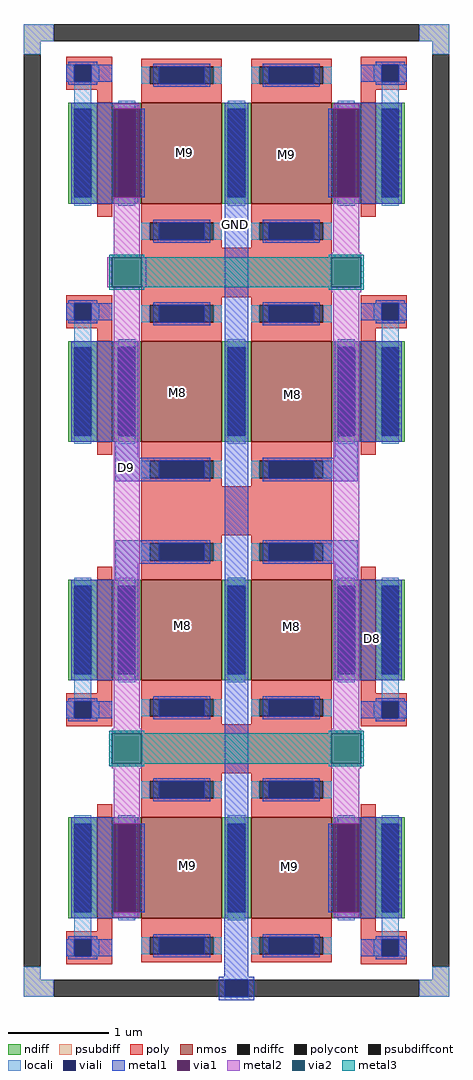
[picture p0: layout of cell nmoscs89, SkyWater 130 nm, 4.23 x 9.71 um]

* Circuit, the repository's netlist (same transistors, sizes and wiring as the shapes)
** sch_path: /home/raphael03/MSIB/opamp/mag/nmoscs89.sch
.subckt nmoscs89 GND D8 D9
*.PININFO GND:B D8:B D9:B
XM8 D8 D8 GND GND sky130_fd_pr__nfet_01v8 L=0.8 W=1 nf=1 m=4
XM9 D9 D8 GND GND sky130_fd_pr__nfet_01v8 L=0.8 W=1 nf=1 m=4
XM1 D8 D8 D8 GND sky130_fd_pr__nfet_01v8 L=0.15 W=1 nf=1 m=4
XM2 D9 D9 D9 GND sky130_fd_pr__nfet_01v8 L=0.15 W=1 nf=1 m=4
.ends
.end

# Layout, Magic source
magic
tech sky130A
magscale 1 2
<< psubdiff >>
rect -176 411 -116 445
rect 610 411 670 445
rect -176 385 -142 411
rect 636 385 670 411
rect -176 -1456 -142 -1430
rect 636 -1456 670 -1430
rect -176 -1490 -116 -1456
rect 610 -1490 670 -1456
<< psubdiffcont >>
rect -116 411 610 445
rect -176 -1430 -142 385
rect 636 -1430 670 385
rect -116 -1490 610 -1456
<< poly >>
rect -92 364 0 380
rect -92 330 -76 364
rect -42 330 0 364
rect -92 314 0 330
rect 494 364 586 380
rect 494 330 536 364
rect 570 330 586 364
rect 494 314 586 330
rect -92 -110 0 -94
rect 58 -98 436 0
rect -92 -144 -76 -110
rect -42 -144 0 -110
rect -92 -160 0 -144
rect 494 -110 586 -94
rect 494 -144 536 -110
rect 570 -144 586 -110
rect 494 -160 586 -144
rect 58 -572 436 -474
rect -92 -902 0 -886
rect -92 -936 -76 -902
rect -42 -936 0 -902
rect -92 -952 0 -936
rect 494 -902 586 -886
rect 494 -936 536 -902
rect 570 -936 586 -902
rect 58 -1045 436 -948
rect 494 -952 586 -936
rect -92 -1375 0 -1359
rect -92 -1409 -76 -1375
rect -42 -1409 0 -1375
rect -92 -1425 0 -1409
rect 494 -1375 586 -1359
rect 494 -1409 536 -1375
rect 570 -1409 586 -1375
rect 494 -1425 586 -1409
<< polycont >>
rect -76 330 -42 364
rect 536 330 570 364
rect -76 -144 -42 -110
rect 536 -144 570 -110
rect -76 -936 -42 -902
rect 536 -936 570 -902
rect -76 -1409 -42 -1375
rect 536 -1409 570 -1375
<< locali >>
rect -176 411 -116 445
rect 610 411 670 445
rect -176 385 -142 411
rect 636 385 670 411
rect -92 330 -76 364
rect -42 330 -26 364
rect 520 330 536 364
rect 570 330 586 364
rect -76 276 -42 330
rect 536 276 570 330
rect -92 -144 -76 -110
rect -42 -144 -26 -110
rect 520 -144 536 -110
rect 570 -144 586 -110
rect -76 -198 -42 -144
rect 536 -198 570 -144
rect -76 -902 -42 -848
rect 536 -902 570 -848
rect -92 -936 -76 -902
rect -42 -936 -26 -902
rect 520 -936 536 -902
rect 570 -936 586 -902
rect -76 -1375 -42 -1321
rect 536 -1375 570 -1321
rect -92 -1409 -76 -1375
rect -42 -1409 -26 -1375
rect 520 -1409 536 -1375
rect 570 -1409 586 -1375
rect -176 -1456 -142 -1430
rect 636 -1456 670 -1430
rect -176 -1490 -116 -1456
rect 610 -1490 670 -1456
<< viali >>
rect -76 330 -42 364
rect 536 330 570 364
rect -76 -144 -42 -110
rect 536 -144 570 -110
rect -76 -936 -42 -902
rect 536 -936 570 -902
rect -76 -1409 -42 -1375
rect 536 -1409 570 -1375
rect 224 -1490 270 -1456
<< metal1 >>
rect -88 364 -30 370
rect 524 364 582 370
rect -92 330 -76 364
rect -42 330 0 364
rect 494 330 536 364
rect 570 330 586 364
rect -88 324 -30 330
rect 524 324 582 330
rect -82 276 52 288
rect -82 100 3 276
rect 55 100 65 276
rect -82 88 52 100
rect -88 -110 -30 -104
rect -92 -144 -76 -110
rect -42 -144 0 -110
rect -88 -150 -30 -144
rect -82 -386 52 -186
rect 6 -418 52 -386
rect 6 -464 81 -418
rect 6 -628 81 -582
rect 6 -660 52 -628
rect -82 -860 52 -660
rect -88 -902 -30 -896
rect -92 -936 -76 -902
rect -42 -936 0 -902
rect -88 -942 -30 -936
rect -82 -1145 52 -1133
rect -82 -1321 3 -1145
rect 55 -1321 65 -1145
rect -82 -1333 52 -1321
rect 224 -1333 270 288
rect 442 276 576 288
rect 429 100 439 276
rect 491 100 576 276
rect 442 88 576 100
rect 524 -110 582 -104
rect 494 -144 536 -110
rect 570 -144 586 -110
rect 524 -150 582 -144
rect 442 -386 576 -186
rect 442 -418 488 -386
rect 413 -464 488 -418
rect 413 -628 488 -582
rect 442 -660 488 -628
rect 442 -860 576 -660
rect 524 -902 582 -896
rect 494 -936 536 -902
rect 570 -936 586 -902
rect 524 -942 582 -936
rect 442 -1145 576 -1133
rect 429 -1321 439 -1145
rect 491 -1321 576 -1145
rect 442 -1333 576 -1321
rect -88 -1375 -30 -1369
rect -92 -1409 -76 -1375
rect -42 -1409 0 -1375
rect -88 -1415 -30 -1409
rect 223 -1450 270 -1333
rect 524 -1375 582 -1369
rect 494 -1409 536 -1375
rect 570 -1409 586 -1375
rect 524 -1415 582 -1409
rect 212 -1456 282 -1450
rect 212 -1490 224 -1456
rect 270 -1490 282 -1456
rect 212 -1496 282 -1490
<< via1 >>
rect 3 100 55 276
rect 3 -1321 55 -1145
rect 439 100 491 276
rect 439 -1321 491 -1145
<< metal2 >>
rect 3 276 55 286
rect 3 -19 55 100
rect 439 276 491 286
rect 439 -10 491 100
rect 435 -19 495 -10
rect -10 -79 -1 -19
rect 59 -79 68 -19
rect 3 -957 55 -79
rect 435 -88 495 -79
rect 439 -957 491 -88
rect -1 -966 59 -957
rect -1 -1035 59 -1026
rect 435 -966 495 -957
rect 435 -1035 495 -1026
rect 3 -1145 55 -1035
rect 3 -1331 55 -1321
rect 439 -1145 491 -1035
rect 439 -1331 491 -1321
<< via2 >>
rect -1 -79 59 -19
rect 435 -79 495 -19
rect -1 -1026 59 -966
rect 435 -1026 495 -966
<< metal3 >>
rect -6 -19 64 -14
rect 430 -19 500 -14
rect -6 -79 -1 -19
rect 59 -79 435 -19
rect 495 -79 500 -19
rect -6 -84 64 -79
rect 430 -84 500 -79
rect -6 -966 64 -961
rect 430 -966 500 -961
rect -6 -1026 -1 -966
rect 59 -1026 435 -966
rect 495 -1026 500 -966
rect -6 -1031 64 -1026
rect 430 -1031 500 -1026
use sky130_fd_pr__nfet_01v8_5MNGEB  sky130_fd_pr__nfet_01v8_5MNGEB_0
transform 1 0 247 0 1 -1233
box -247 -188 247 188
use sky130_fd_pr__nfet_01v8_5MNGEB  sky130_fd_pr__nfet_01v8_5MNGEB_1
transform 1 0 247 0 1 188
box -247 -188 247 188
use sky130_fd_pr__nfet_01v8_5MNGEB  sky130_fd_pr__nfet_01v8_5MNGEB_2
transform 1 0 247 0 1 -286
box -247 -188 247 188
use sky130_fd_pr__nfet_01v8_5MNGEB  sky130_fd_pr__nfet_01v8_5MNGEB_3
transform 1 0 247 0 1 -760
box -247 -188 247 188
use sky130_fd_pr__nfet_01v8_VGC7SA  sky130_fd_pr__nfet_01v8_VGC7SA_0
transform 1 0 -15 0 1 -1233
box -73 -126 73 126
use sky130_fd_pr__nfet_01v8_VGC7SA  sky130_fd_pr__nfet_01v8_VGC7SA_1
transform 1 0 509 0 1 -1233
box -73 -126 73 126
use sky130_fd_pr__nfet_01v8_VGC7SA  sky130_fd_pr__nfet_01v8_VGC7SA_2
transform 1 0 509 0 1 -760
box -73 -126 73 126
use sky130_fd_pr__nfet_01v8_VGC7SA  sky130_fd_pr__nfet_01v8_VGC7SA_3
transform 1 0 509 0 1 -286
box -73 -126 73 126
use sky130_fd_pr__nfet_01v8_VGC7SA  sky130_fd_pr__nfet_01v8_VGC7SA_4
transform 1 0 509 0 1 188
box -73 -126 73 126
use sky130_fd_pr__nfet_01v8_VGC7SA  sky130_fd_pr__nfet_01v8_VGC7SA_5
transform 1 0 -15 0 1 188
box -73 -126 73 126
use sky130_fd_pr__nfet_01v8_VGC7SA  sky130_fd_pr__nfet_01v8_VGC7SA_6
transform 1 0 -15 0 1 -286
box -73 -126 73 126
use sky130_fd_pr__nfet_01v8_VGC7SA  sky130_fd_pr__nfet_01v8_VGC7SA_7
transform 1 0 -15 0 1 -760
box -73 -126 73 126
<< labels >>
flabel metal1 246 47 246 47 0 FreeSans 800 0 0 0 GND
port 1 nsew
flabel metal2 28 -437 28 -437 0 FreeSans 800 0 0 0 D9
port 2 nsew
flabel metal1 518 -777 518 -777 0 FreeSans 800 0 0 0 D8
port 3 nsew
flabel space 359 -292 359 -292 0 FreeSans 160 0 0 0 M8
flabel space 130 -288 130 -288 0 FreeSans 160 0 0 0 M8
flabel space 356 -754 356 -754 0 FreeSans 160 0 0 0 M8
flabel space 140 -752 140 -752 0 FreeSans 160 0 0 0 M8
flabel space 352 -1231 352 -1231 0 FreeSans 160 0 0 0 M9
flabel space 150 -1228 150 -1228 0 FreeSans 160 0 0 0 M9
flabel space 347 186 347 186 0 FreeSans 160 0 0 0 M9
flabel space 143 189 143 189 0 FreeSans 160 0 0 0 M9
<< end >>

# cell sky130_fd_pr__nfet_01v8_5MNGEB: kit device sky130_fd_pr__nfet_01v8, w 1 l 0.8 m 1 nf 2 diffcov 100 polycov 100 guard 0 glc 1 grc 1 gtc 1 gbc 1 tbcov 100 rlcov 100 topc 1 botc 1 poverlap 0 doverlap 1 lmin 0.15 wmin 0.42 compatible {sky130_fd_pr__nfet_01v8 sky130_fd_pr__nfet_01v8_lvt sky130_fd_bs_flash__special_sonosfet_star sky130_fd_pr__nfet_g5v0d10v5 sky130_fd_pr__nfet_05v0_nvt sky130_fd_pr__nfet_03v3_nvt} full_metal 1 viasrc 100 viadrn 100 viagate 70 viagb 0 viagr 0 viagl 0 viagt 0

# cell sky130_fd_pr__nfet_01v8_VGC7SA: kit device sky130_fd_pr__nfet_01v8, w 1 l 0.150 m 1 nf 1 diffcov 100 polycov 100 guard 0 glc 1 grc 1 gtc 1 gbc 1 tbcov 100 rlcov 100 topc 0 botc 0 poverlap 0 doverlap 1 lmin 0.15 wmin 0.42 compatible {sky130_fd_pr__nfet_01v8 sky130_fd_pr__nfet_01v8_lvt sky130_fd_bs_flash__special_sonosfet_star sky130_fd_pr__nfet_g5v0d10v5 sky130_fd_pr__nfet_05v0_nvt sky130_fd_pr__nfet_03v3_nvt} full_metal 1 viasrc 100 viadrn 100 viagate 70 viagb 0 viagr 0 viagl 0 viagt 0
